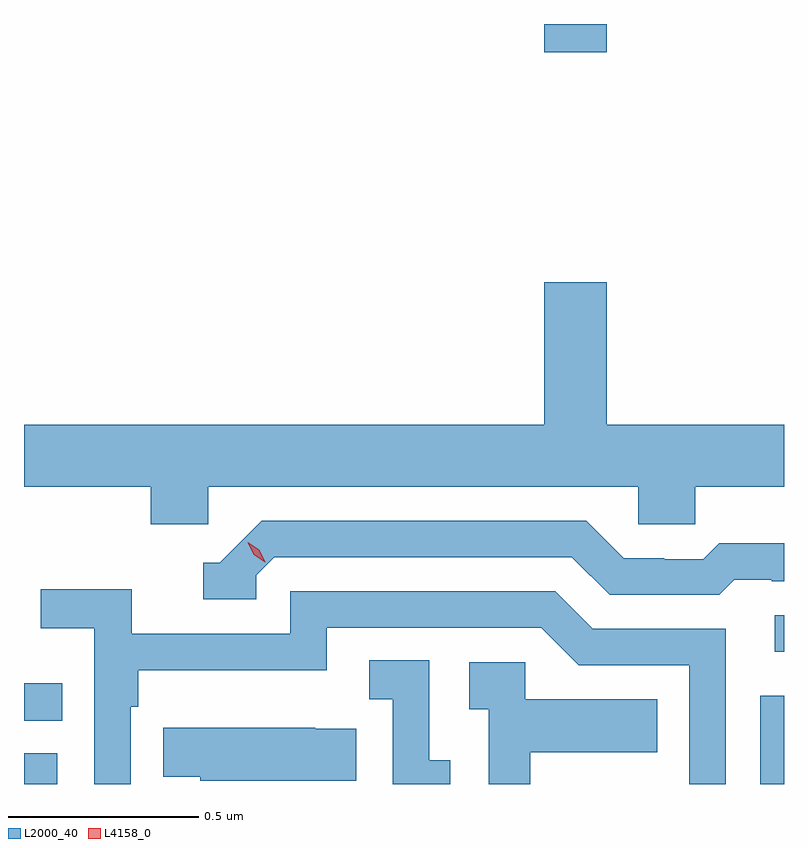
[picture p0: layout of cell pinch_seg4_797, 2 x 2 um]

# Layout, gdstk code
import gdstk
lib = gdstk.Library(unit=1e-6, precision=1e-09)
def R(c, l, rs):  # rectangles x0, y0, x1, y1
    for r in rs: c.add(gdstk.rectangle(r[:2], r[2:], *l))
def P(c, l, *ps):  # polygons
    for p in ps: c.add(gdstk.Polygon(p, *l))
L2000_40 = (2000, 40)
L4158_0 = (4158, 0)

pinch_seg4_797 = lib.new_cell('pinch_seg4_797')
R(pinch_seg4_797, L2000_40, [(810.991,830.67,811.078,830.751), (812.928,830.67,812.991,830.902), (810.991,830.836,811.091,830.935), (812.967,831.018,812.991,831.114), (812.36,832.596,812.524,832.67)])
P(pinch_seg4_797, L2000_40, [(811.476,831.452),(812.607,831.452),(812.607,831.354),(812.757,831.354),(812.757,831.452),(812.991,831.452),(812.991,831.616),(812.524,831.616),(812.524,831.991),(812.36,831.991),(812.36,831.616),(810.991,831.616),(810.991,831.452),(811.325,831.452),(811.325,831.354),(811.476,831.354)],
  [(811.602,831.219),(811.65,831.267),(812.433,831.267),(812.532,831.168),(812.821,831.168),(812.86,831.207),(812.959,831.207),(812.959,831.204),(812.991,831.204),(812.991,831.304),(812.821,831.304),(812.779,831.261),(812.676,831.261),(812.676,831.264),(812.569,831.264),(812.47,831.363),(811.617,831.363),(811.506,831.252),(811.463,831.252),(811.463,831.156),(811.602,831.156)],
  [(811.272,830.873),(811.292,830.873),(811.292,830.969),(811.788,830.969),(811.788,831.081),(812.352,831.081),(812.451,830.982),(812.742,830.982),(812.742,830.67),(812.838,830.67),(812.838,831.078),(812.488,831.078),(812.389,831.177),(811.692,831.177),(811.692,831.066),(811.274,831.066),(811.274,831.182),(811.035,831.182),(811.035,831.08),(811.176,831.08),(811.176,830.67),(811.272,830.67)],
  [(812.113,830.733),(812.058,830.733),(812.058,830.996),(811.899,830.996),(811.899,830.893),(811.962,830.893),(811.962,830.67),(812.113,830.67)],
  [(812.323,830.753),(812.657,830.753),(812.657,830.893),(812.31,830.893),(812.31,830.991),(812.163,830.991),(812.163,830.867),(812.214,830.867),(812.214,830.67),(812.323,830.67)],
  [(811.865,830.815),(811.757,830.815),(811.757,830.818),(811.357,830.818),(811.357,830.689),(811.455,830.689),(811.455,830.678),(811.865,830.678)])
P(pinch_seg4_797, L4158_0, [(811.626,831.253),(811.595,831.273),(811.58,831.306),(811.58,831.306),(811.58,831.306),(811.61,831.286),(811.626,831.253),(811.626,831.253)])

lib.write_gds('pinch_seg4_797.gds')
